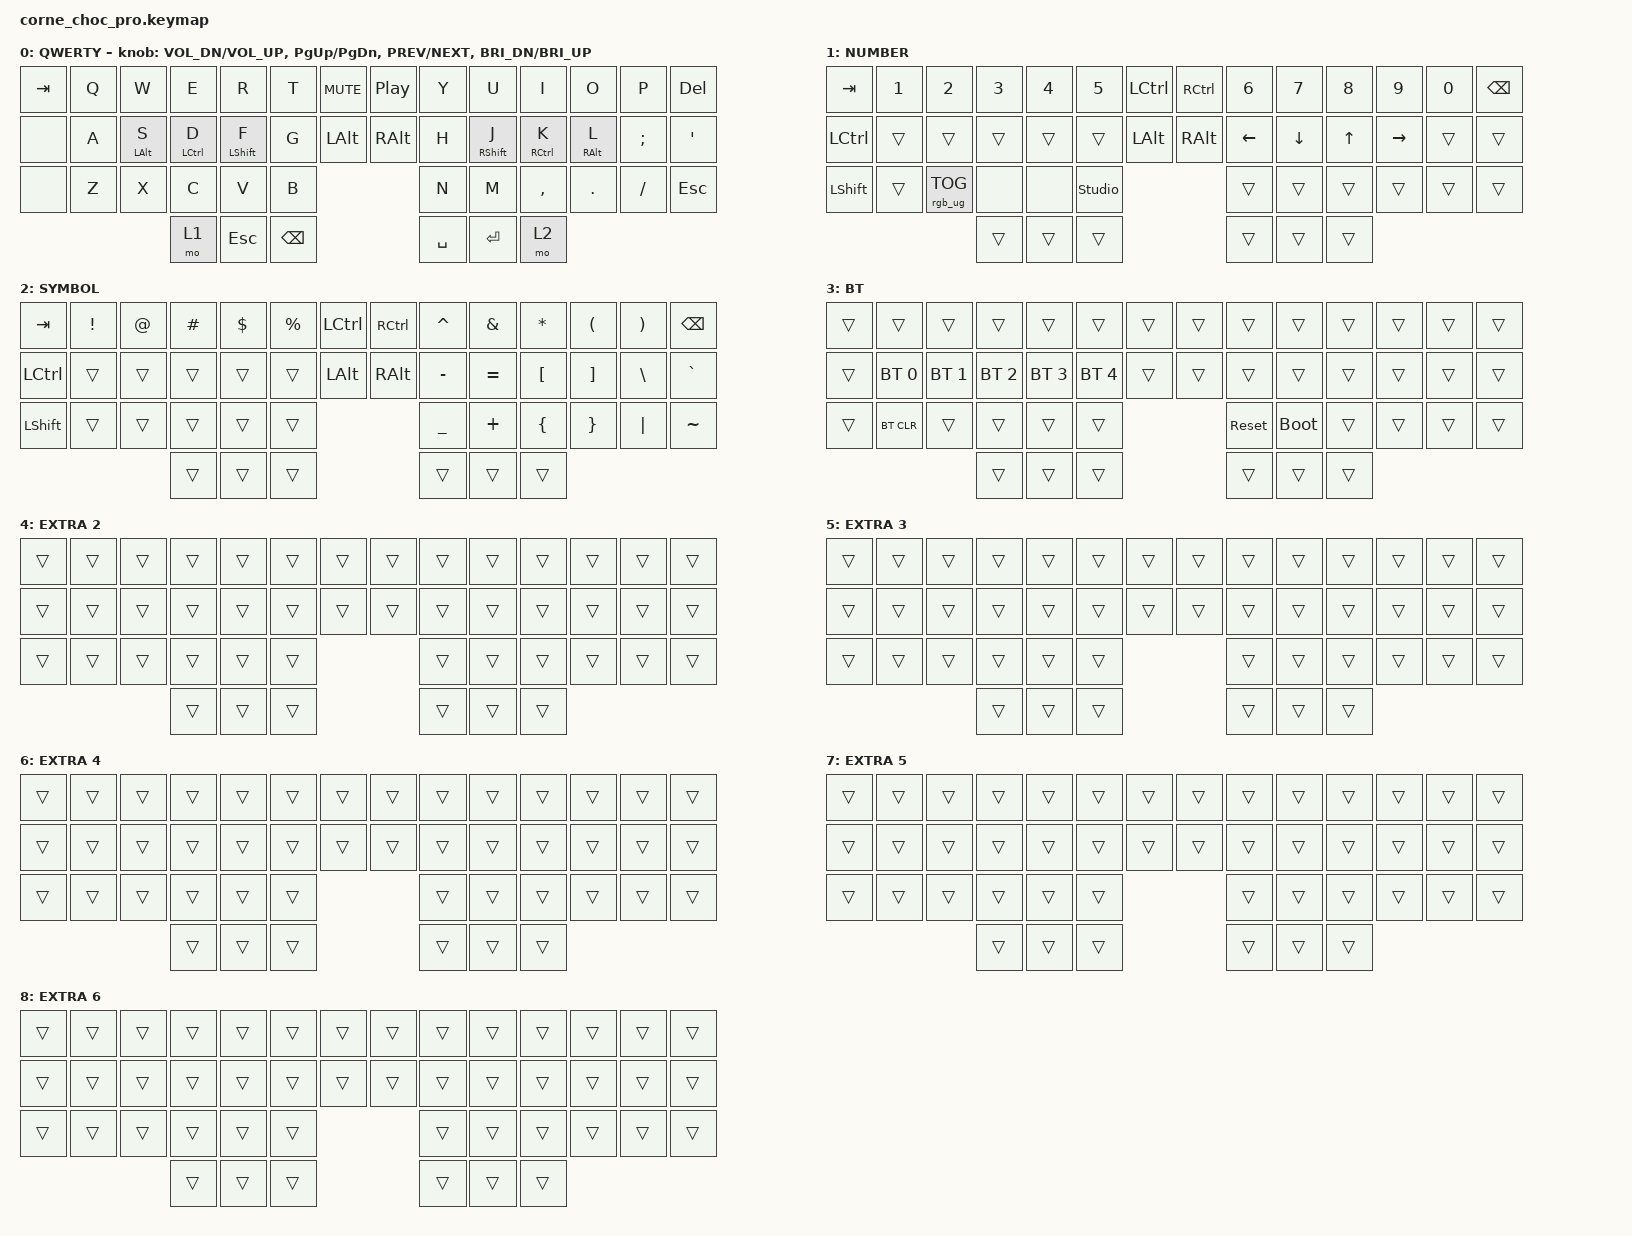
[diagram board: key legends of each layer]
/*
 * Copyright (c) 2020 The ZMK Contributors
 *
 * SPDX-License-Identifier: MIT
 */

#include <behaviors.dtsi>
#include <dt-bindings/zmk/keys.h>
#include <dt-bindings/zmk/bt.h>
#include <dt-bindings/zmk/rgb.h>

/ {
    chosen {
        zmk,physical-layout = &default_layout;
    };
};

/ {
    behaviors {
        hm: homerow_mods {
            compatible = "zmk,behavior-hold-tap";
            #binding-cells = <2>;
            tapping-term-ms = <500>;
            quick-tap-ms = <200>;
            require-prior-idle-ms = <200>;
            flavor = "balanced";
            bindings = <&kp>, <&kp>;
        };
    };

    conditional_layers {
        compatible = "zmk,conditional-layers";
        // Hold both layer thumbs (LWR + RSE) to reach the BT/system layer.
        // Momentary by design: releasing the thumbs always exits, so the
        // keyboard can never get stuck on the BT layer by accident.
        bt_tri_layer {
            if-layers = <1 2>;
            then-layer = <3>;
        };
    };

    keymap {
        compatible = "zmk,keymap";

        default_layer {
            display-name = "QWERTY";
            // ------------------------------------------------------------------------------------------
            // |  TAB |  Q  |  W  |  E  |  R  |  T  |  MUTE |  PP   |  Y  |  U    |  I    |  O    |  P  | DEL  |
            // |      |  A  | ALT | CTRL| SHFT|  G  |  LALT |  RALT |  H  | SHFT  | CTRL  | ALTGR |  ;  |  '   |
            // |      |  Z  |  X  |  C  |  V  |  B  |               |  N  |  M    |  ,    |  .    |  /  | ESC  |
            //                    | LWR | ESC | BSPC|               | SPC | ENT   | RSE   |
            bindings = <
                &kp TAB &kp Q &kp W      &kp E       &kp R       &kp T &kp C_MUTE &kp C_PP &kp Y &kp U       &kp I       &kp O      &kp P    &kp DEL
                &none   &kp A &hm LALT S &hm LCTRL D &hm LSHFT F &kp G &kp LALT   &kp RALT &kp H &hm RSHFT J &hm RCTRL K &hm RALT L &kp SEMI &kp SQT
                &none   &kp Z &kp X      &kp C       &kp V       &kp B                     &kp N &kp M       &kp COMMA   &kp DOT    &kp FSLH &kp ESC
                                          &mo 1       &kp ESC     &kp BSPC                  &kp SPACE &kp RET &mo 2
            >;
            sensor-bindings = <&inc_dec_kp C_VOL_DN C_VOL_UP &inc_dec_kp PG_UP PG_DN &inc_dec_kp C_PREV C_NEXT &inc_dec_kp C_BRI_DN C_BRI_UP>;
        };

        lower_layer {
            display-name = "NUMBER";
            // -----------------------------------------------------------------------------------------
            // |  TAB |  1  |  2  |  3  |  4  |  5    |  LCTRL | RCTRL |  6  |  7  |  8  |  9  |  0  | BSPC |
            // | CTRL |     |     |     |     |       |  LALT  | RALT  | LFT | DWN |  UP | RGT |     |      |
            // | SHFT |     | RGB |     |     | Unlock|        |       |     |     |     |     |     |      |
            //                    | GUI |     | SPC   |        | ENT   |     | ALT |
            // RST / BOOT moved to the BT/system layer so a mis-hit next to
            // RGB can no longer reset the board or drop it into the bootloader.
            bindings = <
                &kp TAB   &kp N1 &kp N2          &kp N3 &kp N4 &kp N5         &kp LCTRL &kp RCTRL &kp N6   &kp N7   &kp N8 &kp N9    &kp N0 &kp BSPC
                &kp LCTRL &trans &trans          &trans &trans &trans         &kp LALT  &kp RALT  &kp LEFT &kp DOWN &kp UP &kp RIGHT &trans &trans
                &kp LSHFT &trans &rgb_ug RGB_TOG &none  &none  &studio_unlock                     &trans   &trans   &trans &trans    &trans &trans
                                                 &trans     &trans      &trans                             &trans   &trans   &trans
            >;
        };

        raise_layer {
            display-name = "SYMBOL";
            // -----------------------------------------------------------------------------------------
            // |  TAB |  !  |  @  |  #  |  $  |  %  | LCTRL | RCTRL |  ^  |  &  |  *  |  (  |  )  | BSPC |
            // | CTRL |     |     |     |     |     |  LALT | RALT  |  -  |  =  |  [  |  ]  |  \  |  `   |
            // | SHFT |     |     |     |     |     |               |  _  |  +  |  {  |  }  | "|" |  ~   |
            //                    | GUI |     | SPC |               | ENT |     | ALT |
            bindings = <
                &kp  TAB  &kp EXCL &kp AT &kp HASH &kp DLLR &kp PRCNT &kp LCTRL &kp RCTRL &kp CARET &kp AMPS &kp ASTRK &kp LPAR &kp RPAR &kp BSPC
                &kp LCTRL &trans   &trans &trans   &trans   &trans    &kp LALT  &kp RALT  &kp MINUS &kp EQUAL &kp LBKT &kp RBKT &kp BSLH &kp GRAVE
                &kp LSHFT &trans   &trans &trans   &trans   &trans                        &kp UNDER &kp PLUS  &kp LBRC &kp RBRC &kp PIPE &kp TILDE
                                          &trans   &trans   &trans                        &trans    &trans    &trans
            >;
        };

        bluetooth_layer {
            display-name = "BT";
            // Active only while both layer thumbs (LWR + RSE) are held.
            // -----------------------------------------------------------------------------------------
            // |      |     |     |     |     |     |     |     |     |     |     |     |     |      |
            // |      | BT1 | BT2 | BT3 | BT4 | BT5 |     |     |     |     |     |     |     |      |
            // |      | BTCR|     |     |     |     |                 | RST | BOOT|     |     |      |
            //                    |     |     |     |                 |     |     |     |
            bindings = <
                &trans &trans       &trans       &trans       &trans       &trans       &trans &trans &trans     &trans      &trans &trans &trans &trans
                &trans &bt BT_SEL 0 &bt BT_SEL 1 &bt BT_SEL 2 &bt BT_SEL 3 &bt BT_SEL 4 &trans &trans &trans     &trans      &trans &trans &trans &trans
                &trans &bt BT_CLR   &trans       &trans       &trans       &trans                     &sys_reset &bootloader &trans &trans &trans &trans
                                                 &trans       &trans       &trans                     &trans     &trans      &trans
            >;
        };

        extra_layer_2 {
            display-name = "EXTRA 2";
            bindings = <
                &trans &trans &trans &trans &trans &trans &trans &trans &trans &trans &trans &trans &trans &trans
                &trans &trans &trans &trans &trans &trans &trans &trans &trans &trans &trans &trans &trans &trans
                &trans &trans &trans &trans &trans &trans               &trans &trans &trans &trans &trans &trans
                                     &trans &trans &trans               &trans &trans &trans       
            >;
        };

        extra_layer_3 {
            display-name = "EXTRA 3";
            bindings = <
                &trans &trans &trans &trans &trans &trans &trans &trans &trans &trans &trans &trans &trans &trans
                &trans &trans &trans &trans &trans &trans &trans &trans &trans &trans &trans &trans &trans &trans
                &trans &trans &trans &trans &trans &trans               &trans &trans &trans &trans &trans &trans
                                     &trans &trans &trans               &trans &trans &trans       
            >;
        };

        extra_layer_4 {
            display-name = "EXTRA 4";
            bindings = <
                &trans &trans &trans &trans &trans &trans &trans &trans &trans &trans &trans &trans &trans &trans
                &trans &trans &trans &trans &trans &trans &trans &trans &trans &trans &trans &trans &trans &trans
                &trans &trans &trans &trans &trans &trans               &trans &trans &trans &trans &trans &trans
                                     &trans &trans &trans               &trans &trans &trans       
            >;
        };

        extra_layer_5 {
            display-name = "EXTRA 5";
            bindings = <
                &trans &trans &trans &trans &trans &trans &trans &trans &trans &trans &trans &trans &trans &trans
                &trans &trans &trans &trans &trans &trans &trans &trans &trans &trans &trans &trans &trans &trans
                &trans &trans &trans &trans &trans &trans               &trans &trans &trans &trans &trans &trans
                                     &trans &trans &trans               &trans &trans &trans       
            >;
        };

        extra_layer_6 {
            display-name = "EXTRA 6";
            bindings = <
                &trans &trans &trans &trans &trans &trans &trans &trans &trans &trans &trans &trans &trans &trans
                &trans &trans &trans &trans &trans &trans &trans &trans &trans &trans &trans &trans &trans &trans
                &trans &trans &trans &trans &trans &trans               &trans &trans &trans &trans &trans &trans
                                     &trans &trans &trans               &trans &trans &trans       
            >;
        };
    };
};
